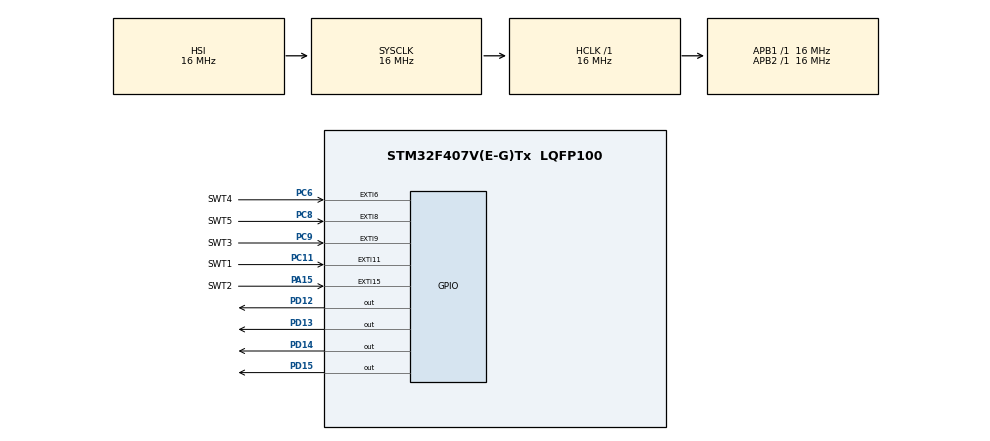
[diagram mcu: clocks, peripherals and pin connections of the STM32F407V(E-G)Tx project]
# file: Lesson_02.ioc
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Mcu.Family=STM32F4
Mcu.Name=STM32F407V(E-G)Tx
Mcu.Package=LQFP100
NVIC.EXTI15_10_IRQn=true\:0\:0\:false\:false\:true\:true\:true
NVIC.EXTI9_5_IRQn=true\:0\:0\:false\:false\:true\:true\:true
NVIC.PriorityGroup=NVIC_PRIORITYGROUP_4
PA15.GPIO_Label=SWT2
PA15.GPIO_ModeDefaultEXTI=GPIO_MODE_IT_FALLING
PA15.Signal=GPXTI15
PC11.GPIO_Label=SWT1
PC11.GPIO_ModeDefaultEXTI=GPIO_MODE_IT_FALLING
PC11.Signal=GPXTI11
PC6.GPIO_Label=SWT4
PC6.GPIO_ModeDefaultEXTI=GPIO_MODE_IT_FALLING
PC6.Signal=GPXTI6
PC8.GPIO_Label=SWT5
PC8.GPIO_ModeDefaultEXTI=GPIO_MODE_IT_FALLING
PC8.Signal=GPXTI8
PC9.GPIO_Label=SWT3
PC9.GPIO_ModeDefaultEXTI=GPIO_MODE_IT_FALLING
PC9.Signal=GPXTI9
PD12.Signal=GPIO_Output
PD13.Signal=GPIO_Output
PD14.Signal=GPIO_Output
PD15.Signal=GPIO_Output
ProjectManager.HeapSize=0x200
ProjectManager.StackSize=0x400
ProjectManager.TargetToolchain=STM32CubeIDE
RCC.AHBFreq_Value=16000000
RCC.APB1Freq_Value=16000000
RCC.APB2Freq_Value=16000000
RCC.CortexFreq_Value=16000000
RCC.HSE_VALUE=25000000
RCC.HSI_VALUE=16000000
RCC.LSE_VALUE=32768
RCC.SYSCLKFreq_VALUE=16000000
RCC.VCOOutputFreq_Value=192000000
board=custom

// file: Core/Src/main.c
/* USER CODE BEGIN Header */
/**
  ******************************************************************************
  * @file           : main.c
  * @brief          : Main program body
  ******************************************************************************
  * @attention
  *
  * <h2><center>&copy; Copyright (c) 2021 STMicroelectronics.
  * All rights reserved.</center></h2>
  *
  * This software component is licensed by ST under BSD 3-Clause license,
  * the "License"; You may not use this file except in compliance with the
  * License. You may obtain a copy of the License at:
  *                        opensource.org/licenses/BSD-3-Clause
  *
  ******************************************************************************
  */
/* USER CODE END Header */
#include "main.h"
#include <stdint.h>
#include <stdbool.h>

/* USER CODE BEGIN PV */
int mode = 0;						//variable for switch mode
int speed = 200;					//variable for switch speed
bool switcher = 0;					//variable for switcher LEDs
/* USER CODE END PV */

void SystemClock_Config(void);
static void MX_GPIO_Init(void);
/* USER CODE BEGIN PFP */

/* Private user code ---------------------------------------------------------*/
/* USER CODE BEGIN 0 */
void AllTurnOff(void);								//initialization prototypes of function for default mode
void AllTurnOn(void);								//initialization prototypes of function for mode 1
void TurnOnAround(void);							//initialization prototypes of function for mode 2
void DoubleLED(void);								//initialization prototypes of function for mode 3
void HAL_GPIO_EXTI_Callback(uint16_t GPIO_Pin);     //initialization interrupt handler for switch mode

/* USER CODE END PFP */

/* USER CODE END 0 */

int main(void)
{

  /* MCU Configuration--------------------------------------------------------*/

  /* Reset of all peripherals, Initializes the Flash interface and the Systick. */
  HAL_Init();

  /* Configure the system clock */
  SystemClock_Config();

  /* Initialize all configured peripherals */
  MX_GPIO_Init();

  /* Infinite loop */
  /* USER CODE BEGIN WHILE */
  while (1)
  {

	  void HAL_GPIO_EXTI_Callback(uint16_t GPIO_Pin);
	  if (switcher)
	  {
	  switch (mode) // choose mode
	  	{
	  	case 0:
	  	{
	  		AllTurnOn();				//mode 1
	  	}
	  		break;
	  	case 1:
	  	{
	  		TurnOnAround();				//mode 2
	  	}
	  		break;
	  	case 2:
	  	{
	  		DoubleLED();				//mode 3
	  	}
	  		break;
	  	case 3:
	  	{
	  		HAL_GPIO_WritePin(GPIOD, GPIO_PIN_12|GPIO_PIN_13|GPIO_PIN_14|GPIO_PIN_15, GPIO_PIN_RESET);
	  		HAL_GPIO_WritePin(GPIOD, GPIO_PIN_14, GPIO_PIN_SET);		//mode 4
	  	}
	  		break;
	  	case 4:                   		// to loop modes: go to the first mode
		{
			mode = 0;
		}
			break;
	  	case -1:						// to loop modes: go to the last mode
		{
			mode = 3;
		}
			break;
		}
	  }
		else
		{
			AllTurnOff();
		}

    /* USER CODE END WHILE */

  }
}

void SystemClock_Config(void)
{
  RCC_OscInitTypeDef RCC_OscInitStruct = {0};
  RCC_ClkInitTypeDef RCC_ClkInitStruct = {0};

  /** Configure the main internal regulator output voltage
  */
  __HAL_RCC_PWR_CLK_ENABLE();
  __HAL_PWR_VOLTAGESCALING_CONFIG(PWR_REGULATOR_VOLTAGE_SCALE1);
  /** Initializes the RCC Oscillators according to the specified parameters
  * in the RCC_OscInitTypeDef structure.
  */
  RCC_OscInitStruct.OscillatorType = RCC_OSCILLATORTYPE_HSI;
  RCC_OscInitStruct.HSIState = RCC_HSI_ON;
  RCC_OscInitStruct.HSICalibrationValue = RCC_HSICALIBRATION_DEFAULT;
  RCC_OscInitStruct.PLL.PLLState = RCC_PLL_NONE;
  if (HAL_RCC_OscConfig(&RCC_OscInitStruct) != HAL_OK)
  {
    Error_Handler();
  }
  /** Initializes the CPU, AHB and APB buses clocks
  */
  RCC_ClkInitStruct.ClockType = RCC_CLOCKTYPE_HCLK|RCC_CLOCKTYPE_SYSCLK
                              |RCC_CLOCKTYPE_PCLK1|RCC_CLOCKTYPE_PCLK2;
  RCC_ClkInitStruct.SYSCLKSource = RCC_SYSCLKSOURCE_HSI;
  RCC_ClkInitStruct.AHBCLKDivider = RCC_SYSCLK_DIV1;
  RCC_ClkInitStruct.APB1CLKDivider = RCC_HCLK_DIV1;
  RCC_ClkInitStruct.APB2CLKDivider = RCC_HCLK_DIV1;

  if (HAL_RCC_ClockConfig(&RCC_ClkInitStruct, FLASH_LATENCY_0) != HAL_OK)
  {
    Error_Handler();
  }
}

static void MX_GPIO_Init(void)
{
  GPIO_InitTypeDef GPIO_InitStruct = {0};

  /* GPIO Ports Clock Enable */
  __HAL_RCC_GPIOD_CLK_ENABLE();
  __HAL_RCC_GPIOC_CLK_ENABLE();
  __HAL_RCC_GPIOA_CLK_ENABLE();

  /*Configure GPIO pin Output Level */
  HAL_GPIO_WritePin(GPIOD, GPIO_PIN_12|GPIO_PIN_13|GPIO_PIN_14|GPIO_PIN_15, GPIO_PIN_RESET);

  /*Configure GPIO pins : PD12 PD13 PD14 PD15 */
  GPIO_InitStruct.Pin = GPIO_PIN_12|GPIO_PIN_13|GPIO_PIN_14|GPIO_PIN_15;
  GPIO_InitStruct.Mode = GPIO_MODE_OUTPUT_PP;
  GPIO_InitStruct.Pull = GPIO_NOPULL;
  GPIO_InitStruct.Speed = GPIO_SPEED_FREQ_LOW;
  HAL_GPIO_Init(GPIOD, &GPIO_InitStruct);

  /*Configure GPIO pins : SWT4_Pin SWT5_Pin SWT3_Pin SWT1_Pin */
  GPIO_InitStruct.Pin = SWT4_Pin|SWT5_Pin|SWT3_Pin|SWT1_Pin;
  GPIO_InitStruct.Mode = GPIO_MODE_IT_FALLING;
  GPIO_InitStruct.Pull = GPIO_NOPULL;
  HAL_GPIO_Init(GPIOC, &GPIO_InitStruct);

  /*Configure GPIO pin : SWT2_Pin */
  GPIO_InitStruct.Pin = SWT2_Pin;
  GPIO_InitStruct.Mode = GPIO_MODE_IT_FALLING;
  GPIO_InitStruct.Pull = GPIO_NOPULL;
  HAL_GPIO_Init(SWT2_GPIO_Port, &GPIO_InitStruct);

  /* EXTI interrupt init*/
  HAL_NVIC_SetPriority(EXTI9_5_IRQn, 0, 0);
  HAL_NVIC_EnableIRQ(EXTI9_5_IRQn);

  HAL_NVIC_SetPriority(EXTI15_10_IRQn, 0, 0);
  HAL_NVIC_EnableIRQ(EXTI15_10_IRQn);

}

/* USER CODE BEGIN 4 */
void AllTurnOff(void)
{
	HAL_GPIO_WritePin(GPIOD, GPIO_PIN_12|GPIO_PIN_13|GPIO_PIN_14|GPIO_PIN_15, GPIO_PIN_RESET);	//turn off all LEDs
}
void AllTurnOn(void) 					//function for mode 1
{
	HAL_GPIO_WritePin(GPIOD, GPIO_PIN_12|GPIO_PIN_13|GPIO_PIN_14|GPIO_PIN_15, GPIO_PIN_SET);	//turn on all LEDs
}

void TurnOnAround(void) 				//function for mode 2
{
	HAL_GPIO_WritePin(GPIOD, GPIO_PIN_12|GPIO_PIN_13|GPIO_PIN_14|GPIO_PIN_15, GPIO_PIN_RESET);
	HAL_GPIO_TogglePin(GPIOD, GPIO_PIN_12); 					//inverting the state of the Green LED (On/Off)
	HAL_Delay(speed); 											// wait 0.5 second
	HAL_GPIO_TogglePin(GPIOD, GPIO_PIN_12| GPIO_PIN_13); 	//inverting the state of the Green LED (Off/On)
															//and Orange LED (On/Off)
	HAL_Delay(speed);
	HAL_GPIO_TogglePin(GPIOD, GPIO_PIN_13| GPIO_PIN_14);		//inverting the state of the Orange LED (Off/On)
															//and Red LED (On/Off)
	HAL_Delay(speed);
	HAL_GPIO_TogglePin(GPIOD, GPIO_PIN_14| GPIO_PIN_15);		//inverting the state of the Red LED (Off/On)
															// and Blue LED (On/Off)
	HAL_Delay(speed);
	HAL_GPIO_TogglePin(GPIOD, GPIO_PIN_15);
}

void DoubleLED(void) //function for mode 3
{
	HAL_GPIO_WritePin(GPIOD, GPIO_PIN_12|GPIO_PIN_13|GPIO_PIN_14|GPIO_PIN_15, GPIO_PIN_RESET);  //turn off all LEDs
	HAL_GPIO_TogglePin(GPIOD, GPIO_PIN_12| GPIO_PIN_14);
	HAL_Delay(speed);
	HAL_GPIO_TogglePin(GPIOD, GPIO_PIN_12| GPIO_PIN_14|GPIO_PIN_13|GPIO_PIN_15);
	HAL_Delay(speed);
	HAL_GPIO_TogglePin(GPIOD, GPIO_PIN_13| GPIO_PIN_15);

}

void HAL_GPIO_EXTI_Callback(uint16_t GPIO_Pin) 	//interrupt handler for switch mode, switch speed and turn on/off all LEDs
{
	switch (GPIO_Pin)
	{
	case SWT2_Pin:
	{
		switcher=!switcher; 					// with each click we invert the value for turn on or turn off all LEDs
	}
			break;
	case SWT1_Pin:
	{
		mode++;									// switch mode up
	}
		break;

	case SWT3_Pin:
	{
		mode--;									// switch mode up
	}
		break;

	case SWT4_Pin:
	{
		if (speed<=5000) 						//in order to be, the delay did not have a bug value
		{
		speed+=100;								// add 100 ms for delay
		}
	}
		break;

	case SWT5_Pin:
	{
		if (speed>=100) 						// in order to be, the delay did not have a minus value
		{
		speed-=100;								// minus 100 ms for delay
		}
	}
		break;
	}
}

/* USER CODE END 4 */

void Error_Handler(void)
{
  __disable_irq();
  while (1)
  {
  }
}

/************************ (C) COPYRIGHT STMicroelectronics *****END OF FILE****/
